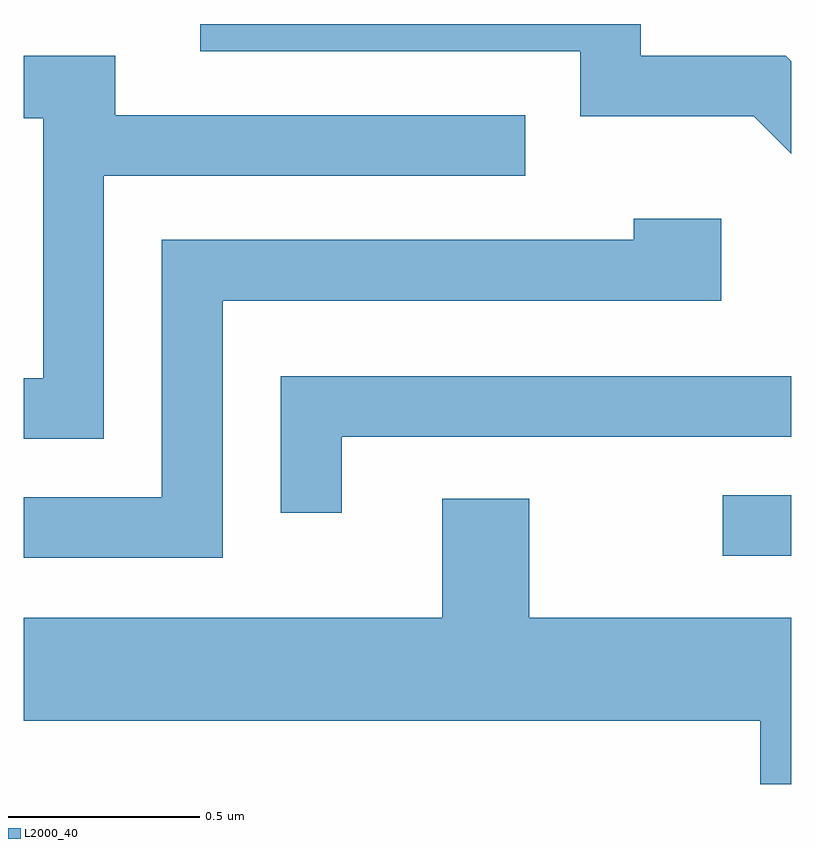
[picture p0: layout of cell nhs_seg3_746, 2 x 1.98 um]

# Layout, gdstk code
import gdstk
lib = gdstk.Library(unit=1e-6, precision=1e-09)
def R(c, l, rs):  # rectangles x0, y0, x1, y1
    for r in rs: c.add(gdstk.rectangle(r[:2], r[2:], *l))
def P(c, l, *ps):  # polygons
    for p in ps: c.add(gdstk.Polygon(p, *l))
L2000_40 = (2000, 40)

nhs_seg3_746 = lib.new_cell('nhs_seg3_746')
R(nhs_seg3_746, L2000_40, [(192.433,1177.506,192.611,1177.664)])
P(nhs_seg3_746, L2000_40, [(192.611,1178.795),(192.597,1178.809),(192.219,1178.809),(192.219,1178.892),(191.071,1178.892),(191.071,1178.821),(192.061,1178.821),(192.061,1178.651),(192.514,1178.651),(192.611,1178.554)],
  [(190.819,1178.496),(191.918,1178.496),(191.918,1178.654),(190.849,1178.654),(190.849,1178.809),(190.611,1178.809),(190.611,1178.646),(190.661,1178.646),(190.661,1177.969),(190.611,1177.969),(190.611,1177.811),(190.819,1177.811)],
  [(191.129,1178.171),(192.429,1178.171),(192.429,1178.384),(192.201,1178.384),(192.201,1178.329),(190.971,1178.329),(190.971,1177.659),(190.611,1177.659),(190.611,1177.501),(191.129,1177.501)],
  [(191.439,1177.816),(192.611,1177.816),(192.611,1177.974),(191.281,1177.974),(191.281,1177.618),(191.439,1177.618)],
  [(192.611,1177.344),(191.929,1177.344),(191.929,1177.654),(191.701,1177.654),(191.701,1177.344),(190.611,1177.344),(190.611,1177.076),(192.531,1177.076),(192.531,1176.911),(192.611,1176.911)])

lib.write_gds('nhs_seg3_746.gds')
